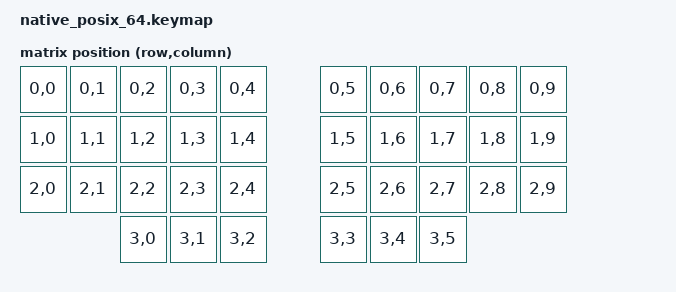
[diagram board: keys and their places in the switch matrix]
#include <dt-bindings/zmk/matrix_transform.h>
#include <dt-bindings/zmk/kscan_mock.h>

/ {
    chosen {
        zmk,matrix-transform = &transform;
    };

    /* op36 position N is RC(N/10, N%10); thumbs 30..35 are row 3. */
    transform: keymap_transform {
        compatible = "zmk,matrix-transform";
        columns = <10>;
        rows = <4>;
        map = <
            RC(0,0) RC(0,1) RC(0,2) RC(0,3) RC(0,4) RC(0,5) RC(0,6) RC(0,7) RC(0,8) RC(0,9)
            RC(1,0) RC(1,1) RC(1,2) RC(1,3) RC(1,4) RC(1,5) RC(1,6) RC(1,7) RC(1,8) RC(1,9)
            RC(2,0) RC(2,1) RC(2,2) RC(2,3) RC(2,4) RC(2,5) RC(2,6) RC(2,7) RC(2,8) RC(2,9)
            RC(3,0) RC(3,1) RC(3,2) RC(3,3) RC(3,4) RC(3,5)
        >;
    };
};

&kscan {
    rows = <4>;
    columns = <10>;
    events = <
        /* lead-in so require-prior-idle-ms sees real idle time */
        ZMK_MOCK_PRESS(0,1,10)
        ZMK_MOCK_RELEASE(0,1,400)

        /* "at " typed as a roll: space goes down while t is still held, which
           is what balanced flavour needs to decide hold. a->t gap ~120 ms.
           Both letters carry a home row mod here — a is Alt (pos 10), t is Cmd
           (pos 13) — so this is the roll that must still come out as
           a t space, never as a modifier. */
        ZMK_MOCK_PRESS(1,0,60)
        ZMK_MOCK_RELEASE(1,0,60)
        ZMK_MOCK_PRESS(1,3,40)
        ZMK_MOCK_PRESS(3,1,40)
        ZMK_MOCK_RELEASE(3,1,20)
        ZMK_MOCK_RELEASE(1,3,300)
    >;
};

#include "/cfg/op36_ruen.keymap"
